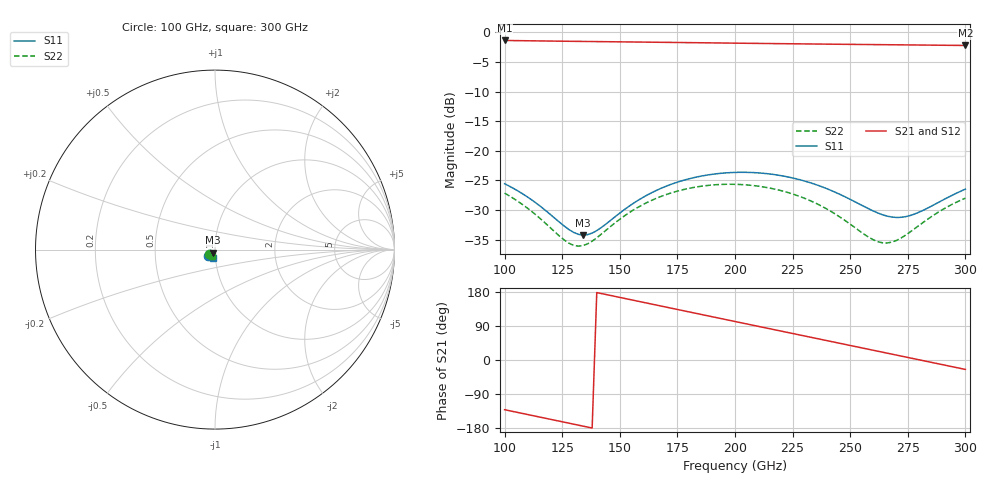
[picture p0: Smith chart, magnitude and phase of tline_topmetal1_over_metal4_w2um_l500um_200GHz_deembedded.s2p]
! Created with skrf 2.0.1 (http://scikit-rf.org).
# GHz S DB R 50.0
!freq dBS11 angS11 dBS21 angS21 dBS12 angS12 dBS22 angS22
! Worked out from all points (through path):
!   101 points, 100 GHz to 300 GHz, reference 50 ohm
!   highest |S21| = -1.36 dB at 100 GHz (marker M1); lowest = -2.2 dB at 300 GHz (marker M2)
!   group delay of S21, straight-line fit = 3.52 ps
!   lowest |S11| = -34.2 dB at 134 GHz (marker M3), VSWR 1.04, Z = 49 - j1.66 ohm
!   |S11| at or under -10 dB: start of sweep to end of sweep
!   |S22| runs from -36.1 to -25.7 dB; largest |S21 - S12| = 9.3e-14
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100  -25.57 -141.1  -1.36 -131.2  -1.36 -131.2  -27.15 -145.4
114  -28.93 -149.1  -1.43 -149.0  -1.43 -149.0  -30.96 -153.5
126  -32.75 -140.5  -1.49 -164.3  -1.49 -164.3  -35.11 -141.5
130  -33.79 -131.4  -1.50 -169.4  -1.50 -169.4  -35.97 -130.4
134  -34.24 -119.5  -1.52 -174.5  -1.52 -174.5  -36.02 -117.5
140  -33.49 -102.3  -1.55 177.9  -1.55 177.9  -34.70 -102.2
150  -30.52 -88.9  -1.59 165.2  -1.59 165.2  -31.56 -93.9
158  -28.35 -88.4  -1.63 155.0  -1.63 155.0  -29.52 -96.1
168  -26.32 -93.3  -1.67 142.3  -1.67 142.3  -27.70 -103.4
184  -24.38 -106.0  -1.74 121.9  -1.74 121.9  -26.06 -119.0
200  -23.65 -120.5  -1.81 101.6  -1.81 101.6  -25.66 -135.9
208  -23.68 -127.6  -1.85 91.5  -1.85 91.5  -25.87 -144.2
216  -23.96 -134.4  -1.88 81.4  -1.88 81.4  -26.37 -152.1
224  -24.50 -140.6  -1.92 71.2  -1.92 71.2  -27.17 -159.3
234  -25.57 -146.8  -1.96 58.6  -1.96 58.6  -28.66 -166.6
248  -27.82 -150.4  -2.01 40.9  -2.01 40.9  -31.84 -169.5
260  -30.17 -143.4  -2.05 25.7  -2.05 25.7  -35.02 -154.7
264  -30.80 -138.0  -2.07 20.6  -2.07 20.6  -35.55 -144.5
268  -31.19 -131.1  -2.08 15.6  -2.08 15.6  -35.44 -133.4
276  -30.94 -116.3  -2.11 5.5  -2.11 5.5  -33.72 -117.1
284  -29.60 -105.8  -2.14 -4.7  -2.14 -4.7  -31.46 -111.1
300  -26.48 -101.4  -2.20 -24.9  -2.20 -24.9  -28.00 -115.8
